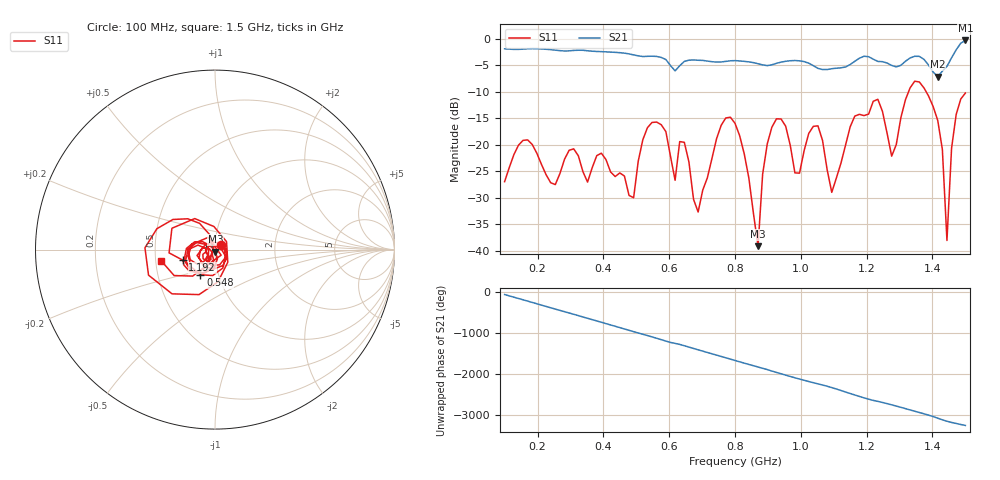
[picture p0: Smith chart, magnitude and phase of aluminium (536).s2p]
! NanoVNA-App
! Date: 2025-09-25 14:59:27
! Start: 100MHz Stop: 1,5GHz Points: 101
! S-Parameter data: F S11 S21 S12 S22
# Hz S RI R 50
!  Frequency  S11_Real  S11_Imag  S21_Real  S21_Imag  S12_Real  S12_Imag  S22_Real  S22_Imag
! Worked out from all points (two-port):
!   101 points, 100 MHz to 1.5 GHz, reference 50 ohm
!   highest |S21| = -0.35 dB at 1.5 GHz (marker M1); lowest = -7.2 dB at 1.416 GHz (marker M2)
!   |S21| within 3 dB of the highest: start of sweep to 516.7 MHz; 1.46 GHz to end of sweep (the widest 2 of 5)
!   lowest |S11| = -39.1 dB at 870 MHz (marker M3), VSWR 1.02, Z = 50.2 - j1.09 ohm
!   |S11| at or under -10 dB: start of sweep to 1.327 GHz; 1.381 GHz to end of sweep
!   S12 and S22 are empty: the file has one direction only
!   S11 on the Smith chart (normalised r, x): 100 MHz: 1.07, +0.06; 548 MHz: 0.82, -0.24; 1.192 GHz: 0.69, -0.08; 1.5 GHz: 0.53, -0.07
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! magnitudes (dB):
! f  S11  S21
! 100 MHz  -27.0  -1.9
! 156 MHz  -19.2  -2.0
! 338 MHz  -25.1  -2.2
! 492 MHz  -30.0  -3.1
! 548 MHz  -15.8  -3.3
! 576 MHz  -16.2  -3.6
! 618 MHz  -26.7  -6.1
! 646 MHz  -19.5  -4.3
! 688 MHz  -32.7  -4.1
! 800 MHz  -16.0  -4.1
! 870 MHz  -39.1  -4.7
! 912 MHz  -16.7  -4.9
! 996 MHz  -25.4  -4.2
! 1.038 GHz  -16.5  -5.1
! 1.094 GHz  -29.0  -5.7
! 1.192 GHz  -14.5  -3.3
! 1.276 GHz  -22.2  -5.0
! 1.346 GHz  -8.0  -3.3
! 1.416 GHz  -15.4  -7.2
! 1.444 GHz  -38.0  -5.2
! 1.458 GHz  -20.7  -3.6
! 1.5 GHz  -10.3  -0.3
